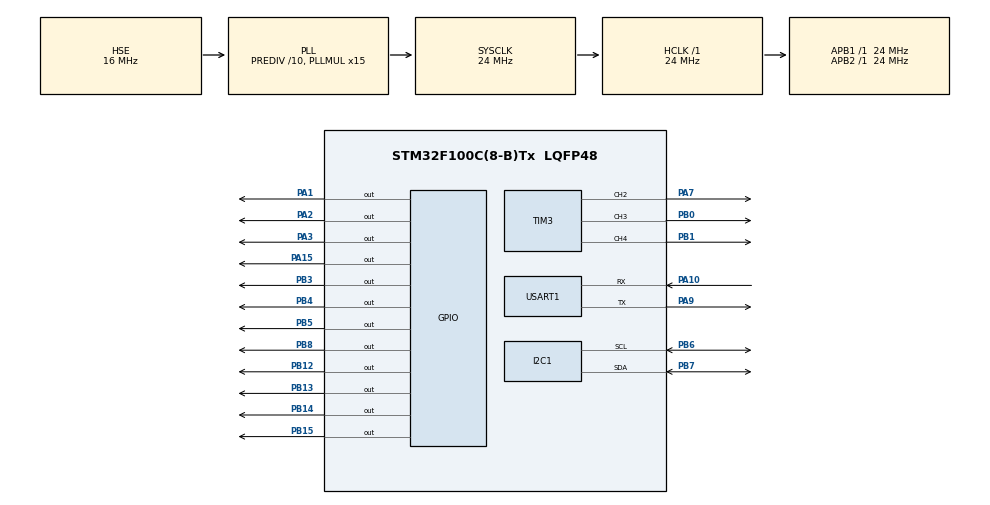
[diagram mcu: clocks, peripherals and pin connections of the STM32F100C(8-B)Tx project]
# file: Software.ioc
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Mcu.Family=STM32F1
Mcu.Name=STM32F100C(8-B)Tx
Mcu.Package=LQFP48
NVIC.PriorityGroup=NVIC_PRIORITYGROUP_4
NVIC.TIM2_IRQn=true\:0\:0\:false\:false\:true\:true
NVIC.TIM4_IRQn=true\:0\:0\:false\:false\:true\:true
NVIC.TIM6_DAC_IRQn=true\:0\:0\:false\:false\:true\:true
NVIC.TIM7_IRQn=true\:0\:0\:false\:false\:true\:true
PA1.Signal=GPIO_Output
PA10.Mode=Asynchronous
PA10.Signal=USART1_RX
PA13.Mode=Serial_Wire
PA13.Signal=SYS_JTMS-SWDIO
PA14.Mode=Serial_Wire
PA14.Signal=SYS_JTCK-SWCLK
PA15.Signal=GPIO_Output
PA2.Signal=GPIO_Output
PA3.Signal=GPIO_Output
PA7.Signal=S_TIM3_CH2
PA9.Mode=Asynchronous
PA9.Signal=USART1_TX
PB0.Signal=S_TIM3_CH3
PB1.Signal=S_TIM3_CH4
PB12.Signal=GPIO_Output
PB13.Signal=GPIO_Output
PB14.Signal=GPIO_Output
PB15.Signal=GPIO_Output
PB3.Signal=GPIO_Output
PB4.Signal=GPIO_Output
PB5.Signal=GPIO_Output
PB6.Mode=I2C
PB6.Signal=I2C1_SCL
PB7.Mode=I2C
PB7.Signal=I2C1_SDA
PB8.Signal=GPIO_Output
PD0-OSC_IN.Mode=HSE-External-Oscillator
PD0-OSC_IN.Signal=RCC_OSC_IN
PD1-OSC_OUT.Mode=HSE-External-Oscillator
PD1-OSC_OUT.Signal=RCC_OSC_OUT
ProjectManager.HeapSize=0x200
ProjectManager.StackSize=0x400
ProjectManager.TargetToolchain=SW4STM32
RCC.AHBFreq_Value=24000000
RCC.APB1Freq_Value=24000000
RCC.APB1TimFreq_Value=24000000
RCC.APB2Freq_Value=24000000
RCC.APB2TimFreq_Value=24000000
RCC.HCLKFreq_Value=24000000
RCC.HSEDivPLL=RCC_HSE_PREDIV_DIV10
RCC.HSE_VALUE=16000000
RCC.PLLMUL=RCC_PLL_MUL15
RCC.PLLSource=RCC_PLLSOURCE_HSE
RCC.SYSCLKFreq_VALUE=24000000
RCC.SYSCLKSource=RCC_SYSCLKSOURCE_PLLCLK
SH.S_TIM3_CH2.0=TIM3_CH2,PWM Generation2 CH2
SH.S_TIM3_CH3.0=TIM3_CH3,PWM Generation3 CH3
SH.S_TIM3_CH4.0=TIM3_CH4,PWM Generation4 CH4
TIM2.ClockDivision=TIM_CLOCKDIVISION_DIV1
TIM2.Period=999
TIM2.Prescaler=239
TIM3.Channel-PWM\ Generation2\ CH2=TIM_CHANNEL_2
TIM3.Channel-PWM\ Generation3\ CH3=TIM_CHANNEL_3
TIM3.Channel-PWM\ Generation4\ CH4=TIM_CHANNEL_4
TIM4.Period=239
TIM4.Prescaler=9999
TIM6.Period=999
TIM6.Prescaler=239
TIM7.Period=239
TIM7.Prescaler=99
USART1.VirtualMode=VM_ASYNC
VP_TIM2_VS_ClockSourceINT.Mode=Internal
VP_TIM4_VS_ClockSourceINT.Mode=Internal
VP_TIM6_VS_ClockSourceINT.Mode=Enable_Timer
VP_TIM7_VS_ClockSourceINT.Mode=Enable_Timer
board=custom

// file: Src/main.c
/**
  ******************************************************************************
  * @file           : main.c
  * @brief          : Main program body
  ******************************************************************************
  ** This notice applies to any and all portions of this file
  * that are not between comment pairs USER CODE BEGIN and
  * USER CODE END. Other portions of this file, whether
  * inserted by the user or by software development tools
  * are owned by their respective copyright owners.
  *
  * COPYRIGHT(c) 2018 STMicroelectronics
  *
  * Redistribution and use in source and binary forms, with or without modification,
  * are permitted provided that the following conditions are met:
  *   1. Redistributions of source code must retain the above copyright notice,
  *      this list of conditions and the following disclaimer.
  *   2. Redistributions in binary form must reproduce the above copyright notice,
  *      this list of conditions and the following disclaimer in the documentation
  *      and/or other materials provided with the distribution.
  *   3. Neither the name of STMicroelectronics nor the names of its contributors
  *      may be used to endorse or promote products derived from this software
  *      without specific prior written permission.
  *
  * THIS SOFTWARE IS PROVIDED BY THE COPYRIGHT HOLDERS AND CONTRIBUTORS "AS IS"
  * AND ANY EXPRESS OR IMPLIED WARRANTIES, INCLUDING, BUT NOT LIMITED TO, THE
  * IMPLIED WARRANTIES OF MERCHANTABILITY AND FITNESS FOR A PARTICULAR PURPOSE ARE
  * DISCLAIMED. IN NO EVENT SHALL THE COPYRIGHT HOLDER OR CONTRIBUTORS BE LIABLE
  * FOR ANY DIRECT, INDIRECT, INCIDENTAL, SPECIAL, EXEMPLARY, OR CONSEQUENTIAL
  * DAMAGES (INCLUDING, BUT NOT LIMITED TO, PROCUREMENT OF SUBSTITUTE GOODS OR
  * SERVICES; LOSS OF USE, DATA, OR PROFITS; OR BUSINESS INTERRUPTION) HOWEVER
  * CAUSED AND ON ANY THEORY OF LIABILITY, WHETHER IN CONTRACT, STRICT LIABILITY,
  * OR TORT (INCLUDING NEGLIGENCE OR OTHERWISE) ARISING IN ANY WAY OUT OF THE USE
  * OF THIS SOFTWARE, EVEN IF ADVISED OF THE POSSIBILITY OF SUCH DAMAGE.
  *
  ******************************************************************************
  */
#include "main.h"
#include "stm32f1xx_hal.h"

/* USER CODE BEGIN Includes */
#include "gy521.h"
#include "motion_control.h"
#include "PID.h"
#include "Kalman.h"
/* USER CODE END Includes */

I2C_HandleTypeDef hi2c1;

TIM_HandleTypeDef htim2;
TIM_HandleTypeDef htim3;
TIM_HandleTypeDef htim4;
TIM_HandleTypeDef htim6;
TIM_HandleTypeDef htim7;

UART_HandleTypeDef huart1;

/* USER CODE BEGIN PV */
/* Private variables ---------------------------------------------------------*/
float accAngle = 0;
float gyroAngle = 0;
float rawGyro = 0;
float rawAccel = 0;
int8_t theta;
uint8_t cnt = 0;
int16_t previousAngle = 0;
int16_t currentAngle = 0;
int16_t angleSum = 0;
tendency previousTendency = STABLE;
tendency currentTendency = STABLE;
/* USER CODE END PV */

void SystemClock_Config(void);
static void MX_GPIO_Init(void);
static void MX_I2C1_Init(void);
static void MX_USART1_UART_Init(void);
static void MX_TIM3_Init(void);
static void MX_TIM2_Init(void);
static void MX_TIM4_Init(void);
static void MX_TIM6_Init(void);
static void MX_TIM7_Init(void);

void HAL_TIM_MspPostInit(TIM_HandleTypeDef *htim);

/* USER CODE BEGIN PFP */
/* Private function prototypes -----------------------------------------------*/
void HAL_TIM_PeriodElapsedCallback(TIM_HandleTypeDef *htim){
	if(htim->Instance == TIM2){
		moveRobot(150,_dir);
	}
	if(htim->Instance == TIM4){
		anglePID(0,theta);
	}
	if(htim->Instance == TIM6){
		//frequency = 100Hz
		//_v = getSpeed();
		//_steps = 0;
	}
	if(htim->Instance == TIM7){
		//frequency = 1kHz
		gyroAngle = getGyroPitch(gyroAngle, rawGyro);
		accAngle = rawAccel;
		cnt++;
		if(cnt <= 40){

			currentAngle = currentAngle + complementaryFilter(gyroAngle, accAngle);

		}
		else{
			test = currentAngle /40;
			theta = getKalmanAngle(test,getGyroYRate(rawGyro), 0.04);
			currentAngle = 0;
			cnt = 0;
		}
	}
}
/* USER CODE END PFP */

int main(void)
{

  /* MCU Configuration----------------------------------------------------------*/

  /* Reset of all peripherals, Initializes the Flash interface and the Systick. */
  HAL_Init();

  /* Configure the system clock */
  SystemClock_Config();

  /* Initialize all configured peripherals */
  MX_GPIO_Init();
  MX_I2C1_Init();
  MX_USART1_UART_Init();
  MX_TIM3_Init();
  MX_TIM2_Init();
  MX_TIM4_Init();
  MX_TIM6_Init();
  MX_TIM7_Init();
  /* USER CODE BEGIN 2 */
  PID_Init();
  motorsInit();
  gy521_Init();
  gyroAngle = getAccelPitch();
  accAngle = gyroAngle;
  _angle = gyroAngle;
  kalmanInit();
  HAL_TIM_Base_Start_IT(&htim2);
  HAL_TIM_Base_Start_IT(&htim4);
  HAL_TIM_Base_Start_IT(&htim6);
  HAL_TIM_Base_Start_IT(&htim7);
  HAL_SetTickFreq(HAL_TICK_FREQ_DEFAULT);
  test = 0;
  /* USER CODE END 2 */

  /* Infinite loop */
  /* USER CODE BEGIN WHILE */
  while (1)
  {
	  rawGyro = getGyro_Y();
	  rawAccel = getAccelPitch();
	 // HAL_GPIO_WritePin(GPIOB,LED,GPIO_PIN_SET);
  /* USER CODE END WHILE */

  }

}

void SystemClock_Config(void)
{

  RCC_OscInitTypeDef RCC_OscInitStruct;
  RCC_ClkInitTypeDef RCC_ClkInitStruct;

    /**Initializes the CPU, AHB and APB busses clocks
    */
  RCC_OscInitStruct.OscillatorType = RCC_OSCILLATORTYPE_HSE;
  RCC_OscInitStruct.HSEState = RCC_HSE_ON;
  RCC_OscInitStruct.HSEPredivValue = RCC_HSE_PREDIV_DIV10;
  RCC_OscInitStruct.PLL.PLLState = RCC_PLL_ON;
  RCC_OscInitStruct.PLL.PLLSource = RCC_PLLSOURCE_HSE;
  RCC_OscInitStruct.PLL.PLLMUL = RCC_PLL_MUL15;
  if (HAL_RCC_OscConfig(&RCC_OscInitStruct) != HAL_OK)
  {
    _Error_Handler(__FILE__, __LINE__);
  }

    /**Initializes the CPU, AHB and APB busses clocks
    */
  RCC_ClkInitStruct.ClockType = RCC_CLOCKTYPE_HCLK|RCC_CLOCKTYPE_SYSCLK
                              |RCC_CLOCKTYPE_PCLK1|RCC_CLOCKTYPE_PCLK2;
  RCC_ClkInitStruct.SYSCLKSource = RCC_SYSCLKSOURCE_PLLCLK;
  RCC_ClkInitStruct.AHBCLKDivider = RCC_SYSCLK_DIV1;
  RCC_ClkInitStruct.APB1CLKDivider = RCC_HCLK_DIV1;
  RCC_ClkInitStruct.APB2CLKDivider = RCC_HCLK_DIV1;

  if (HAL_RCC_ClockConfig(&RCC_ClkInitStruct, FLASH_LATENCY_0) != HAL_OK)
  {
    _Error_Handler(__FILE__, __LINE__);
  }

    /**Configure the Systick interrupt time
    */
  HAL_SYSTICK_Config(HAL_RCC_GetHCLKFreq()/1000);

    /**Configure the Systick
    */
  HAL_SYSTICK_CLKSourceConfig(SYSTICK_CLKSOURCE_HCLK);

  /* SysTick_IRQn interrupt configuration */
  HAL_NVIC_SetPriority(SysTick_IRQn, 0, 0);
}

/* I2C1 init function */
static void MX_I2C1_Init(void)
{

  hi2c1.Instance = I2C1;
  hi2c1.Init.ClockSpeed = 100000;
  hi2c1.Init.DutyCycle = I2C_DUTYCYCLE_2;
  hi2c1.Init.OwnAddress1 = 0;
  hi2c1.Init.AddressingMode = I2C_ADDRESSINGMODE_7BIT;
  hi2c1.Init.DualAddressMode = I2C_DUALADDRESS_DISABLE;
  hi2c1.Init.OwnAddress2 = 0;
  hi2c1.Init.GeneralCallMode = I2C_GENERALCALL_DISABLE;
  hi2c1.Init.NoStretchMode = I2C_NOSTRETCH_DISABLE;
  if (HAL_I2C_Init(&hi2c1) != HAL_OK)
  {
    _Error_Handler(__FILE__, __LINE__);
  }

}

/* TIM2 init function */
static void MX_TIM2_Init(void)
{

  TIM_ClockConfigTypeDef sClockSourceConfig;
  TIM_MasterConfigTypeDef sMasterConfig;

  htim2.Instance = TIM2;
  htim2.Init.Prescaler = 239;
  htim2.Init.CounterMode = TIM_COUNTERMODE_UP;
  htim2.Init.Period = 999;
  htim2.Init.ClockDivision = TIM_CLOCKDIVISION_DIV1;
  htim2.Init.AutoReloadPreload = TIM_AUTORELOAD_PRELOAD_DISABLE;
  if (HAL_TIM_Base_Init(&htim2) != HAL_OK)
  {
    _Error_Handler(__FILE__, __LINE__);
  }

  sClockSourceConfig.ClockSource = TIM_CLOCKSOURCE_INTERNAL;
  if (HAL_TIM_ConfigClockSource(&htim2, &sClockSourceConfig) != HAL_OK)
  {
    _Error_Handler(__FILE__, __LINE__);
  }

  sMasterConfig.MasterOutputTrigger = TIM_TRGO_RESET;
  sMasterConfig.MasterSlaveMode = TIM_MASTERSLAVEMODE_DISABLE;
  if (HAL_TIMEx_MasterConfigSynchronization(&htim2, &sMasterConfig) != HAL_OK)
  {
    _Error_Handler(__FILE__, __LINE__);
  }

}

/* TIM3 init function */
static void MX_TIM3_Init(void)
{

  TIM_MasterConfigTypeDef sMasterConfig;
  TIM_OC_InitTypeDef sConfigOC;

  htim3.Instance = TIM3;
  htim3.Init.Prescaler = 0;
  htim3.Init.CounterMode = TIM_COUNTERMODE_UP;
  htim3.Init.Period = 0;
  htim3.Init.ClockDivision = TIM_CLOCKDIVISION_DIV1;
  htim3.Init.AutoReloadPreload = TIM_AUTORELOAD_PRELOAD_DISABLE;
  if (HAL_TIM_PWM_Init(&htim3) != HAL_OK)
  {
    _Error_Handler(__FILE__, __LINE__);
  }

  sMasterConfig.MasterOutputTrigger = TIM_TRGO_RESET;
  sMasterConfig.MasterSlaveMode = TIM_MASTERSLAVEMODE_DISABLE;
  if (HAL_TIMEx_MasterConfigSynchronization(&htim3, &sMasterConfig) != HAL_OK)
  {
    _Error_Handler(__FILE__, __LINE__);
  }

  sConfigOC.OCMode = TIM_OCMODE_PWM1;
  sConfigOC.Pulse = 0;
  sConfigOC.OCPolarity = TIM_OCPOLARITY_HIGH;
  sConfigOC.OCFastMode = TIM_OCFAST_DISABLE;
  if (HAL_TIM_PWM_ConfigChannel(&htim3, &sConfigOC, TIM_CHANNEL_2) != HAL_OK)
  {
    _Error_Handler(__FILE__, __LINE__);
  }

  if (HAL_TIM_PWM_ConfigChannel(&htim3, &sConfigOC, TIM_CHANNEL_3) != HAL_OK)
  {
    _Error_Handler(__FILE__, __LINE__);
  }

  if (HAL_TIM_PWM_ConfigChannel(&htim3, &sConfigOC, TIM_CHANNEL_4) != HAL_OK)
  {
    _Error_Handler(__FILE__, __LINE__);
  }

  HAL_TIM_MspPostInit(&htim3);

}

/* TIM4 init function */
static void MX_TIM4_Init(void)
{

  TIM_ClockConfigTypeDef sClockSourceConfig;
  TIM_MasterConfigTypeDef sMasterConfig;

  htim4.Instance = TIM4;
  htim4.Init.Prescaler = 9999;
  htim4.Init.CounterMode = TIM_COUNTERMODE_UP;
  htim4.Init.Period = 239;
  htim4.Init.ClockDivision = TIM_CLOCKDIVISION_DIV1;
  htim4.Init.AutoReloadPreload = TIM_AUTORELOAD_PRELOAD_DISABLE;
  if (HAL_TIM_Base_Init(&htim4) != HAL_OK)
  {
    _Error_Handler(__FILE__, __LINE__);
  }

  sClockSourceConfig.ClockSource = TIM_CLOCKSOURCE_INTERNAL;
  if (HAL_TIM_ConfigClockSource(&htim4, &sClockSourceConfig) != HAL_OK)
  {
    _Error_Handler(__FILE__, __LINE__);
  }

  sMasterConfig.MasterOutputTrigger = TIM_TRGO_RESET;
  sMasterConfig.MasterSlaveMode = TIM_MASTERSLAVEMODE_DISABLE;
  if (HAL_TIMEx_MasterConfigSynchronization(&htim4, &sMasterConfig) != HAL_OK)
  {
    _Error_Handler(__FILE__, __LINE__);
  }

}

/* TIM6 init function */
static void MX_TIM6_Init(void)
{

  TIM_MasterConfigTypeDef sMasterConfig;

  htim6.Instance = TIM6;
  htim6.Init.Prescaler = 239;
  htim6.Init.CounterMode = TIM_COUNTERMODE_UP;
  htim6.Init.Period = 999;
  htim6.Init.AutoReloadPreload = TIM_AUTORELOAD_PRELOAD_DISABLE;
  if (HAL_TIM_Base_Init(&htim6) != HAL_OK)
  {
    _Error_Handler(__FILE__, __LINE__);
  }

  sMasterConfig.MasterOutputTrigger = TIM_TRGO_RESET;
  sMasterConfig.MasterSlaveMode = TIM_MASTERSLAVEMODE_DISABLE;
  if (HAL_TIMEx_MasterConfigSynchronization(&htim6, &sMasterConfig) != HAL_OK)
  {
    _Error_Handler(__FILE__, __LINE__);
  }

}

/* TIM7 init function */
static void MX_TIM7_Init(void)
{

  TIM_MasterConfigTypeDef sMasterConfig;

  htim7.Instance = TIM7;
  htim7.Init.Prescaler = 99;
  htim7.Init.CounterMode = TIM_COUNTERMODE_UP;
  htim7.Init.Period = 239;
  htim7.Init.AutoReloadPreload = TIM_AUTORELOAD_PRELOAD_DISABLE;
  if (HAL_TIM_Base_Init(&htim7) != HAL_OK)
  {
    _Error_Handler(__FILE__, __LINE__);
  }

  sMasterConfig.MasterOutputTrigger = TIM_TRGO_RESET;
  sMasterConfig.MasterSlaveMode = TIM_MASTERSLAVEMODE_DISABLE;
  if (HAL_TIMEx_MasterConfigSynchronization(&htim7, &sMasterConfig) != HAL_OK)
  {
    _Error_Handler(__FILE__, __LINE__);
  }

}

/* USART1 init function */
static void MX_USART1_UART_Init(void)
{

  huart1.Instance = USART1;
  huart1.Init.BaudRate = 115200;
  huart1.Init.WordLength = UART_WORDLENGTH_8B;
  huart1.Init.StopBits = UART_STOPBITS_1;
  huart1.Init.Parity = UART_PARITY_NONE;
  huart1.Init.Mode = UART_MODE_TX_RX;
  huart1.Init.HwFlowCtl = UART_HWCONTROL_NONE;
  huart1.Init.OverSampling = UART_OVERSAMPLING_16;
  if (HAL_UART_Init(&huart1) != HAL_OK)
  {
    _Error_Handler(__FILE__, __LINE__);
  }

}

/** Configure pins as
        * Analog
        * Input
        * Output
        * EVENT_OUT
        * EXTI
*/
static void MX_GPIO_Init(void)
{

  GPIO_InitTypeDef GPIO_InitStruct;

  /* GPIO Ports Clock Enable */
  __HAL_RCC_GPIOD_CLK_ENABLE();
  __HAL_RCC_GPIOA_CLK_ENABLE();
  __HAL_RCC_GPIOB_CLK_ENABLE();

  /*Configure GPIO pin Output Level */
  HAL_GPIO_WritePin(GPIOA, GPIO_PIN_1|GPIO_PIN_2|GPIO_PIN_3|GPIO_PIN_15, GPIO_PIN_RESET);

  /*Configure GPIO pin Output Level */
  HAL_GPIO_WritePin(GPIOB, GPIO_PIN_12|GPIO_PIN_13|GPIO_PIN_14|GPIO_PIN_15
                          |GPIO_PIN_3|GPIO_PIN_4|GPIO_PIN_5|GPIO_PIN_8, GPIO_PIN_RESET);

  /*Configure GPIO pins : PA1 PA2 PA3 PA15 */
  GPIO_InitStruct.Pin = GPIO_PIN_1|GPIO_PIN_2|GPIO_PIN_3|GPIO_PIN_15;
  GPIO_InitStruct.Mode = GPIO_MODE_OUTPUT_PP;
  GPIO_InitStruct.Pull = GPIO_NOPULL;
  GPIO_InitStruct.Speed = GPIO_SPEED_FREQ_LOW;
  HAL_GPIO_Init(GPIOA, &GPIO_InitStruct);

  /*Configure GPIO pins : PB12 PB13 PB14 PB15
                           PB3 PB4 PB5 PB8 */
  GPIO_InitStruct.Pin = GPIO_PIN_12|GPIO_PIN_13|GPIO_PIN_14|GPIO_PIN_15
                          |GPIO_PIN_3|GPIO_PIN_4|GPIO_PIN_5|GPIO_PIN_8;
  GPIO_InitStruct.Mode = GPIO_MODE_OUTPUT_PP;
  GPIO_InitStruct.Pull = GPIO_NOPULL;
  GPIO_InitStruct.Speed = GPIO_SPEED_FREQ_LOW;
  HAL_GPIO_Init(GPIOB, &GPIO_InitStruct);

}

void _Error_Handler(char *file, int line)
{
  while(1)
  {
  }
}

/************************ (C) COPYRIGHT STMicroelectronics *****END OF FILE****/
